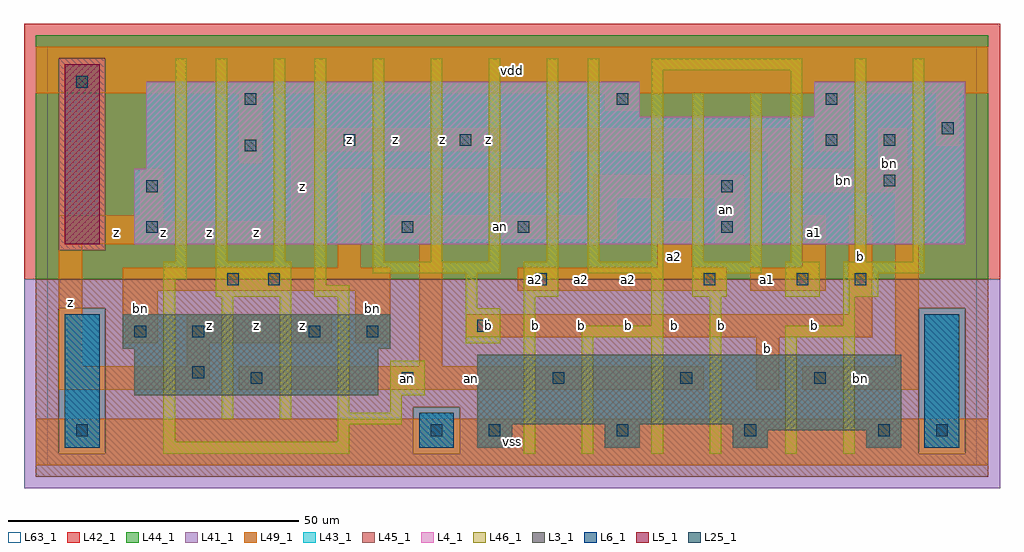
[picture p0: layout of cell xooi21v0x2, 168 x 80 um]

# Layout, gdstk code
import gdstk
lib = gdstk.Library(unit=1e-6, precision=1e-09)
def R(c, l, rs):  # rectangles x0, y0, x1, y1
    for r in rs: c.add(gdstk.rectangle(r[:2], r[2:], *l))
def A(c, l, x, y, w, h, nx, ny, dx, dy):  # array of equal rectangles
    R(c, l, [(x+i*dx, y+j*dy, x+i*dx+w, y+j*dy+h) for i in range(nx) for j in range(ny)])
L3_1 = (3, 1)
L4_1 = (4, 1)
L5_1 = (5, 1)
L6_1 = (6, 1)
L25_1 = (25, 1)
L41_1 = (41, 1)
L42_1 = (42, 1)
L43_1 = (43, 1)
L44_1 = (44, 1)
L45_1 = (45, 1)
L46_1 = (46, 1)
L49_1 = (49, 1)
L63_1 = (63, 1)

xooi21v0x2 = lib.new_cell('xooi21v0x2')
R(xooi21v0x2, L3_1, [(74,3,80,7), (96,3,102,7), (118,3,124,6), (141,3,147,6), (118,6,147,7), (74,7,147,19), (15,12,57,20), (13,20,59,26)])
R(xooi21v0x2, L4_1, [(15,38,158,51), (17,51,158,60), (17,60,102,66), (132,60,158,66)])
R(xooi21v0x2, L5_1, [(3,38,9,69)])
R(xooi21v0x2, L6_1, [(3,3,9,26), (3,3,9,26), (64,3,70,9), (64,3,70,9), (151,3,157,26), (151,3,157,26)])
A(xooi21v0x2, L25_1, 76, 5, 2, 2, 3, 1, 22, 0)
A(xooi21v0x2, L25_1, 35, 14, 2, 2, 3, 1, 26, 0)
R(xooi21v0x2, L25_1, [(5,5,7,7), (66,5,68,7), (143,5,145,7), (153,5,155,7), (109,14,111,16), (132,14,134,16), (25,15,27,17), (15,22,17,24), (25,22,27,24), (45,22,47,24), (55,22,57,24), (74,23,76,25), (31,31,33,33), (38,31,40,33), (84,31,86,33), (113,31,115,33), (129,31,131,33), (139,31,141,33), (17,40,19,42), (61,40,63,42), (81,40,83,42), (116,40,118,42), (17,47,19,49), (116,47,118,49), (144,48,146,50), (34,54,36,56), (51,55,53,57), (71,55,73,57), (134,55,136,57), (144,55,146,57), (154,57,156,59), (34,62,36,64), (98,62,100,64), (134,62,136,64), (5,65,7,67)])
R(xooi21v0x2, L41_1, [(-4,-4,164,32)])
R(xooi21v0x2, L42_1, [(-4,32,164,76)])
R(xooi21v0x2, L43_1, [(3,3,9,26), (64,3,70,9), (74,3,80,7), (96,3,102,7), (118,3,124,6), (141,3,147,6), (151,3,157,26), (118,6,147,7), (74,7,147,19), (15,12,57,20), (13,20,59,26), (3,38,9,69), (15,38,158,51), (17,51,158,60), (17,60,102,66), (132,60,158,66)])
R(xooi21v0x2, L44_1, [(2,2,10,27), (63,2,71,10), (150,2,158,27), (-2,32,162,37), (-2,37,2,70), (10,37,162,70), (-2,70,162,74)])
R(xooi21v0x2, L45_1, [(-2,-2,162,2), (-2,2,2,27), (10,2,63,10), (71,2,150,10), (158,2,162,27), (10,10,150,27), (-2,27,162,32), (2,37,10,70)])
A(xooi21v0x2, L46_1, 56, 35, 2, 35, 4, 1, 10, 0)
R(xooi21v0x2, L46_1, [(20,2,52,4), (82,2,84,29), (92,2,94,22), (104,2,106,22), (114,2,116,29), (127,2,129,22), (137,2,139,22), (20,4,22,32), (50,4,52,7), (50,7,61,9), (30,8,32,29), (40,8,42,29), (50,9,52,29), (59,9,61,12), (59,12,65,18), (72,21,78,27), (92,22,106,24), (127,22,139,24), (104,24,106,33), (137,24,139,29), (72,27,74,33), (29,29,42,35), (46,29,52,31), (82,29,88,35), (111,29,117,33), (127,29,133,35), (137,29,143,33), (46,31,48,70), (20,32,24,35), (56,33,78,35), (93,33,106,35), (111,33,123,35), (137,33,151,35), (22,35,24,70), (29,35,31,70), (39,35,41,70), (93,35,95,70), (104,35,106,68), (111,35,113,64), (121,35,123,64), (128,35,130,68), (139,35,141,70), (149,35,151,70), (104,68,130,70)])
R(xooi21v0x2, L49_1, [(-2,0,162,8), (2,13,28,17), (33,13,113,17), (122,13,126,22), (130,13,150,17), (2,17,6,38), (24,17,28,21), (64,17,68,39), (146,17,150,47), (13,21,19,30), (24,21,49,26), (53,21,59,30), (72,22,142,26), (138,26,142,43), (13,30,59,34), (81,30,117,34), (121,30,134,34), (50,34,54,47), (105,34,111,42), (130,34,134,43), (2,38,46,42), (115,38,120,46), (59,39,98,43), (2,42,20,43), (42,42,46,54), (16,43,20,51), (94,43,98,46), (94,46,120,50), (50,47,90,51), (124,47,150,51), (86,51,90,54), (124,51,128,54), (143,51,148,58), (33,52,37,64), (42,54,79,58), (86,54,128,58), (132,54,138,64), (153,55,157,64), (96,61,102,64), (-2,64,162,72)])
R(xooi21v0x2, L63_1, [(0,0,160,72)])
xooi21v0x2.add(gdstk.Label('an', (62,15), layer=49, texttype=1))
xooi21v0x2.add(gdstk.Label('z', (4,28), layer=49, texttype=1))
xooi21v0x2.add(gdstk.Label('bn', (16,27), layer=49, texttype=1))
xooi21v0x2.add(gdstk.Label('z', (12,40), layer=49, texttype=1))
xooi21v0x2.add(gdstk.Label('z', (20,40), layer=49, texttype=1))
xooi21v0x2.add(gdstk.Label('z', (28,24), layer=49, texttype=1))
xooi21v0x2.add(gdstk.Label('z', (36,24), layer=49, texttype=1))
xooi21v0x2.add(gdstk.Label('z', (44,24), layer=49, texttype=1))
xooi21v0x2.add(gdstk.Label('bn', (56,27), layer=49, texttype=1))
xooi21v0x2.add(gdstk.Label('z', (28,40), layer=49, texttype=1))
xooi21v0x2.add(gdstk.Label('z', (36,40), layer=49, texttype=1))
xooi21v0x2.add(gdstk.Label('z', (44,48), layer=49, texttype=1))
xooi21v0x2.add(gdstk.Label('z', (52,56), layer=49, texttype=1))
xooi21v0x2.add(gdstk.Label('z', (60,56), layer=49, texttype=1))
xooi21v0x2.add(gdstk.Label('vss', (80,4), layer=49, texttype=1))
xooi21v0x2.add(gdstk.Label('b', (76,24), layer=49, texttype=1))
xooi21v0x2.add(gdstk.Label('b', (84,24), layer=49, texttype=1))
xooi21v0x2.add(gdstk.Label('b', (92,24), layer=49, texttype=1))
xooi21v0x2.add(gdstk.Label('a2', (84,32), layer=49, texttype=1))
xooi21v0x2.add(gdstk.Label('a2', (92,32), layer=49, texttype=1))
xooi21v0x2.add(gdstk.Label('z', (68,56), layer=49, texttype=1))
xooi21v0x2.add(gdstk.Label('z', (76,56), layer=49, texttype=1))
xooi21v0x2.add(gdstk.Label('vdd', (80,68), layer=49, texttype=1))
xooi21v0x2.add(gdstk.Label('an', (73,15), layer=49, texttype=1))
xooi21v0x2.add(gdstk.Label('b', (100,24), layer=49, texttype=1))
xooi21v0x2.add(gdstk.Label('b', (108,24), layer=49, texttype=1))
xooi21v0x2.add(gdstk.Label('b', (116,24), layer=49, texttype=1))
xooi21v0x2.add(gdstk.Label('b', (124,20), layer=49, texttype=1))
xooi21v0x2.add(gdstk.Label('a1', (124,32), layer=49, texttype=1))
xooi21v0x2.add(gdstk.Label('a2', (100,32), layer=49, texttype=1))
xooi21v0x2.add(gdstk.Label('a2', (108,36), layer=49, texttype=1))
xooi21v0x2.add(gdstk.Label('an', (117,44), layer=49, texttype=1))
xooi21v0x2.add(gdstk.Label('an', (78,41), layer=49, texttype=1))
xooi21v0x2.add(gdstk.Label('bn', (140,15), layer=49, texttype=1))
xooi21v0x2.add(gdstk.Label('b', (132,24), layer=49, texttype=1))
xooi21v0x2.add(gdstk.Label('a1', (132,40), layer=49, texttype=1))
xooi21v0x2.add(gdstk.Label('b', (140,36), layer=49, texttype=1))
xooi21v0x2.add(gdstk.Label('bn', (137,49), layer=49, texttype=1))
xooi21v0x2.add(gdstk.Label('bn', (145,52), layer=49, texttype=1))

lib.write_gds('xooi21v0x2.gds')
